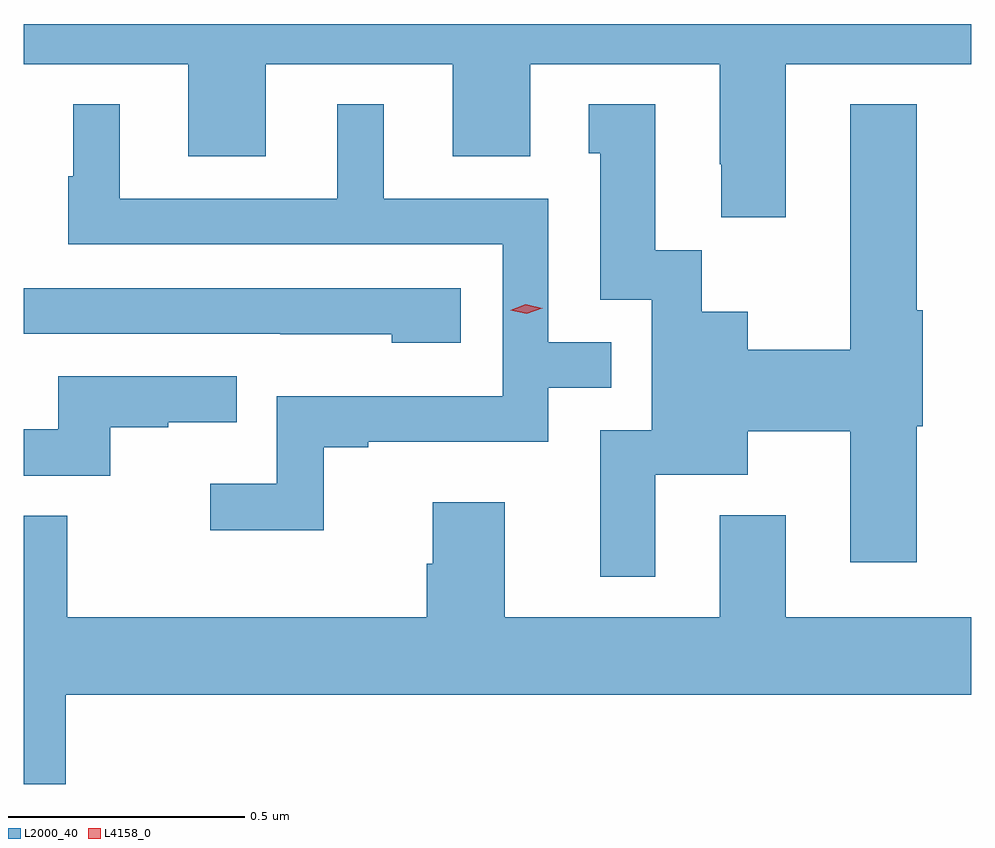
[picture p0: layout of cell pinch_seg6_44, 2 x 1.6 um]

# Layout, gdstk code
import gdstk
lib = gdstk.Library(unit=1e-6, precision=1e-09)
def P(c, l, *ps):  # polygons
    for p in ps: c.add(gdstk.Polygon(p, *l))
L2000_40 = (2000, 40)
L4158_0 = (4158, 0)

pinch_seg6_44 = lib.new_cell('pinch_seg6_44')
P(pinch_seg6_44, L2000_40, [(909.949,983.3),(910.34,983.3),(910.34,983.385),(908.34,983.385),(908.34,983.3),(908.687,983.3),(908.687,983.106),(908.851,983.106),(908.851,983.3),(909.245,983.3),(909.245,983.106),(909.409,983.106),(909.409,983.3),(909.809,983.3),(909.809,983.089),(909.812,983.089),(909.812,982.977),(909.949,982.977)],
  [(909.673,982.433),(909.868,982.433),(909.868,982.525),(910.085,982.525),(910.085,982.248),(910.225,982.248),(910.225,982.536),(910.238,982.536),(910.238,982.78),(910.225,982.78),(910.225,983.215),(910.085,983.215),(910.085,982.697),(909.868,982.697),(909.868,982.777),(909.771,982.777),(909.771,982.907),(909.673,982.907),(909.673,983.215),(909.533,983.215),(909.533,983.112),(909.557,983.112),(909.557,982.803),(909.666,982.803),(909.666,982.527),(909.557,982.527),(909.557,982.218),(909.673,982.218)],
  [(908.973,982.491),(909.067,982.491),(909.067,982.503),(909.447,982.503),(909.447,982.617),(909.58,982.617),(909.58,982.713),(909.447,982.713),(909.447,983.016),(909.1,983.016),(909.1,983.215),(909.002,983.215),(909.002,983.016),(908.542,983.016),(908.542,983.215),(908.444,983.215),(908.444,983.064),(908.433,983.064),(908.433,982.92),(909.351,982.92),(909.351,982.599),(908.874,982.599),(908.874,982.414),(908.733,982.414),(908.733,982.316),(908.973,982.316)],
  [(909.262,982.827),(908.34,982.827),(908.34,982.731),(908.881,982.731),(908.881,982.73),(909.117,982.73),(909.117,982.712),(909.262,982.712)],
  [(908.522,982.533),(908.645,982.533),(908.645,982.544),(908.789,982.544),(908.789,982.641),(908.412,982.641),(908.412,982.529),(908.34,982.529),(908.34,982.431),(908.522,982.431)],
  [(908.428,981.968),(910.34,981.968),(910.34,982.132),(909.949,982.132),(909.949,982.348),(909.809,982.348),(909.809,982.132),(909.355,982.132),(909.355,982.375),(909.203,982.375),(909.203,982.245),(909.191,982.245),(909.191,982.132),(908.431,982.132),(908.431,982.346),(908.34,982.346),(908.34,981.78),(908.428,981.78)])
P(pinch_seg6_44, L4158_0, [(909.402,982.773),(909.367,982.78),(909.367,982.78),(909.367,982.78),(909.4,982.793),(909.435,982.785),(909.436,982.785),(909.435,982.785)])

lib.write_gds('pinch_seg6_44.gds')
